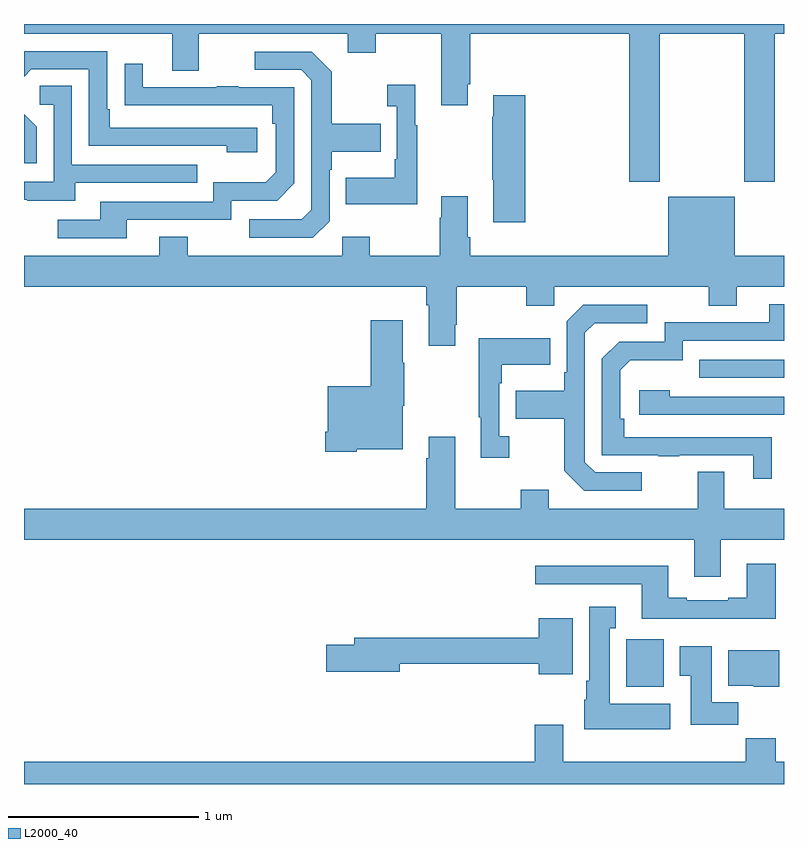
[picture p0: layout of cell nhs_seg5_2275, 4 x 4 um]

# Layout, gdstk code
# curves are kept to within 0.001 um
import gdstk
lib = gdstk.Library(unit=1e-6, precision=1e-09)
def R(c, l, rs):  # rectangles x0, y0, x1, y1
    for r in rs: c.add(gdstk.rectangle(r[:2], r[2:], *l))
def P(c, l, *ps):  # polygons
    for p in ps: c.add(gdstk.Polygon(p, *l))
L2000_40 = (2000, 40)

nhs_seg5_2275 = lib.new_cell('nhs_seg5_2275')
R(nhs_seg5_2275, L2000_40, [(246.171,865.31,246.367,865.56), (246.553,866.937,247,867.033)])
P(nhs_seg5_2275, L2000_40, [(246.345,868.748),(246.79,868.748),(246.79,867.969),(246.95,867.969),(246.95,868.748),(247,868.748),(247,868.799),(243,868.799),(243,868.748),(243.779,868.748),(243.779,868.554),(243.919,868.554),(243.919,868.748),(244.703,868.748),(244.703,868.649),(244.851,868.649),(244.851,868.748),(245.195,868.748),(245.195,868.371),(245.335,868.371),(245.335,868.483),(245.348,868.483),(245.348,868.748),(246.185,868.748),(246.185,867.969),(246.345,867.969)],
  [(244.228,868.254),(243.451,868.254),(243.451,868.351),(243.438,868.351),(243.438,868.656),(243.003,868.656),(243,868.653),(243,868.521),(243.039,868.56),(243.342,868.56),(243.342,868.158),(244.067,868.158),(244.067,868.124),(244.228,868.124)],
  [(244.608,867.762),(244.608,868.031),(244.621,868.031),(244.621,868.127),(244.877,868.127),(244.877,868.275),(244.621,868.275),(244.621,868.547),(244.515,868.653),(244.215,868.653),(244.215,868.557),(244.458,868.557),(244.512,868.503),(244.512,867.822),(244.461,867.771),(244.185,867.771),(244.185,867.675),(244.521,867.675)],
  [(243.541,867.768),(244.092,867.768),(244.092,867.87),(244.332,867.87),(244.422,867.96),(244.422,868.467),(244.127,868.467),(244.127,868.472),(244.015,868.472),(244.015,868.467),(243.625,868.467),(243.625,868.591),(243.529,868.591),(243.529,868.372),(244.306,868.371),(244.306,868.274),(244.326,868.274),(244.326,868.02),(244.273,867.967),(243.996,867.967),(243.996,867.864),(243.401,867.864),(243.401,867.768),(243.177,867.768),(243.177,867.672),(243.541,867.672)],
  [(245.071,868.267),(245.059,868.267),(245.059,868.48),(244.911,868.48),(244.911,868.367),(244.962,868.367),(244.962,868.087),(244.95,868.087),(244.95,867.991),(244.693,867.991),(244.693,867.851),(245.071,867.851)],
  [(243.271,867.963),(243.911,867.963),(243.911,868.059),(243.252,868.059),(243.252,868.475),(243.084,868.475),(243.084,868.374),(243.156,868.374),(243.156,867.969),(243,867.969),(243,867.873),(243.017,867.873),(243.017,867.869),(243.271,867.869)],
  [(245.639,868.423),(245.471,868.423),(245.471,868.31),(245.464,868.31),(245.464,867.979),(245.471,867.979),(245.471,867.756),(245.639,867.756)],
  [(243.066,868.258),(243,868.324),(243,868.065),(243.066,868.065)],
  [(245.269,867.217),(245.277,867.217),(245.277,867.416),(245.644,867.416),(245.644,867.317),(245.79,867.317),(245.79,867.416),(246.604,867.416),(246.604,867.317),(246.751,867.317),(246.751,867.416),(247,867.416),(247,867.58),(246.742,867.58),(246.742,867.889),(246.392,867.889),(246.392,867.58),(245.348,867.58),(245.348,867.676),(245.335,867.676),(245.335,867.892),(245.195,867.892),(245.195,867.779),(245.188,867.779),(245.188,867.58),(244.821,867.58),(244.821,867.679),(244.674,867.679),(244.674,867.58),(243.861,867.58),(243.861,867.679),(243.713,867.679),(243.713,867.58),(243,867.58),(243,867.416),(245.117,867.416),(245.117,867.32),(245.129,867.32),(245.129,867.105),(245.269,867.105)],
  [(246.935,866.624),(246.158,866.625),(246.158,866.722),(246.138,866.722),(246.138,866.976),(246.191,867.029),(246.468,867.029),(246.468,867.132),(247,867.132),(247,867.324),(246.923,867.324),(246.923,867.228),(246.372,867.228),(246.372,867.126),(246.132,867.126),(246.042,867.036),(246.042,866.529),(246.337,866.529),(246.337,866.524),(246.449,866.524),(246.449,866.529),(246.839,866.529),(246.839,866.406),(246.935,866.406)],
  [(246.25,866.439),(246.006,866.439),(245.952,866.493),(245.952,867.174),(246.003,867.225),(246.28,867.225),(246.28,867.321),(245.943,867.321),(245.856,867.234),(245.856,866.965),(245.844,866.965),(245.844,866.869),(245.587,866.869),(245.587,866.722),(245.844,866.722),(245.844,866.449),(245.949,866.343),(246.25,866.343)],
  [(244.752,866.561),(244.993,866.561),(244.993,866.789),(245.001,866.789),(245.001,867.017),(244.993,867.017),(244.993,867.241),(244.826,867.241),(244.826,866.893),(244.598,866.893),(244.598,866.653),(244.586,866.653),(244.586,866.549),(244.752,866.549)],
  [(245.554,866.63),(245.502,866.63),(245.502,866.909),(245.515,866.909),(245.515,867.005),(245.771,867.005),(245.771,867.145),(245.394,867.145),(245.394,866.729),(245.405,866.729),(245.405,866.517),(245.554,866.517)],
  [(247,866.838),(246.398,866.838),(246.398,866.872),(246.237,866.872),(246.237,866.742),(247,866.742)],
  [(246.667,866.084),(247,866.084),(247,866.248),(246.685,866.248),(246.685,866.443),(246.545,866.443),(246.545,866.248),(245.761,866.248),(245.761,866.347),(245.614,866.347),(245.614,866.248),(245.269,866.248),(245.269,866.626),(245.129,866.626),(245.129,866.513),(245.117,866.513),(245.117,866.248),(243,866.248),(243,866.084),(246.527,866.084),(246.527,865.89),(246.667,865.89)],
  [(246.956,865.957),(246.803,865.957),(246.803,865.78),(246.707,865.78),(246.707,865.767),(246.487,865.767),(246.487,865.78),(246.391,865.78),(246.391,865.948),(245.691,865.948),(245.691,865.851),(246.251,865.851),(246.251,865.67),(246.956,865.67)],
  [(246.4,865.222),(246.082,865.222),(246.082,865.619),(246.115,865.619),(246.115,865.732),(245.975,865.732),(245.975,865.342),(245.96,865.342),(245.96,865.242),(245.948,865.242),(245.948,865.088),(246.4,865.088)],
  [(245.887,865.672),(245.708,865.672),(245.708,865.568),(244.739,865.568),(244.739,865.532),(244.59,865.532),(244.59,865.39),(244.978,865.39),(244.978,865.432),(245.708,865.432),(245.708,865.376),(245.887,865.376)],
  [(246.758,865.228),(246.619,865.228),(246.619,865.525),(246.452,865.525),(246.452,865.369),(246.509,865.369),(246.509,865.11),(246.758,865.11)],
  [(246.976,865.504),(246.707,865.504),(246.707,865.316),(246.84,865.316),(246.84,865.31),(246.976,865.31)],
  [(247,864.916),(246.956,864.916),(246.956,865.04),(246.799,865.04),(246.799,864.916),(245.839,864.916),(245.839,865.111),(245.687,865.111),(245.687,864.916),(243,864.916),(243,864.799),(247,864.799)])

lib.write_gds('nhs_seg5_2275.gds')
